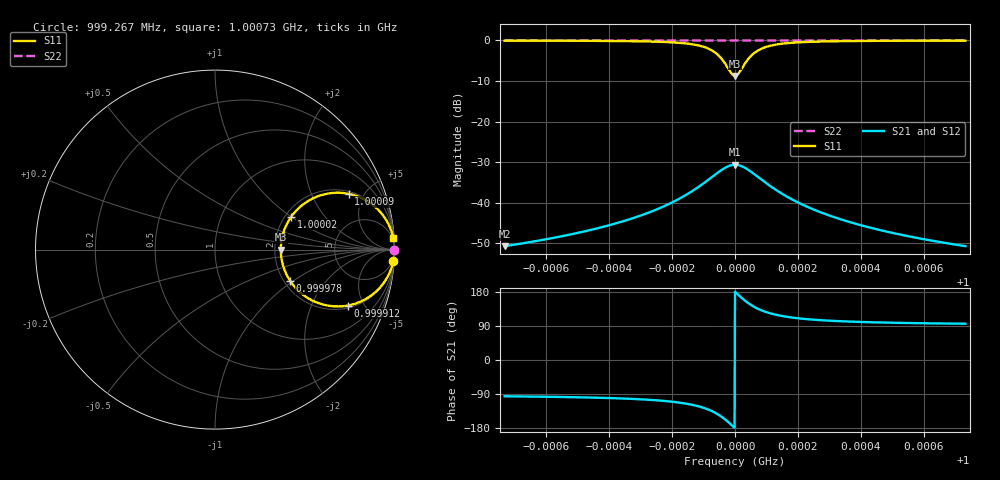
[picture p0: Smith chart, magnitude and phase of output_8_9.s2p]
! File generated for n1 = 8, n2 = 9
! b1 = 0.464159
! b2 = 0.001000
! Q0 = 10000.000000
! f0 = 1000000000.000000
! n = 1001
! rel_span = 10.000000
# Hz S RI R 50
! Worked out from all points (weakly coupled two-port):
!   1001 points, 999.267 MHz to 1.00073 GHz, reference 50 ohm
!   highest |S21| = -30.63 dB at 1 GHz (marker M1); lowest = -50.7 dB at 999.267 MHz (marker M2)
!   lowest |S11| = -8.7 dB at 1 GHz (marker M3), VSWR 2.16, Z = 108 + j0 ohm
!   |S11| at or under -10 dB: nowhere
!   |S22| runs from 0.0 to 0.0 dB; largest |S21 - S12| = 0
!   S11 on the Smith chart (normalised r, x): 999.267 MHz: 2, -32; 999.912 MHz: 2.16, -3.79; 999.978 MHz: 2.16, -0.95; 1.00002 GHz: 2.16, +1.01; 1.00009 GHz: 2.16, +3.85; 1.00073 GHz: 2, +32
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9.992674e8  0.9937 -0.0627  -0.000291 -0.00291  -0.000291 -0.00291  1 -0.000135
9.995121e8  0.986 -0.093  -0.000648 -0.00432  -0.000648 -0.00432  1 -0.0002
9.996469e8  0.9739 -0.126  -0.00121 -0.00585  -0.00121 -0.00585  0.9999 -0.000271
9.997568e8  0.9473 -0.175  -0.00245 -0.00812  -0.00245 -0.00812  0.9999 -0.000377
9.998506e8  0.8773 -0.2504  -0.0057 -0.0116  -0.0057 -0.0116  0.9997 -0.000539
9.998843e8  0.8188 -0.2863  -0.00841 -0.0133  -0.00841 -0.0133  0.9996 -0.000617
9.999121e8  0.7403 -0.3116  -0.0121 -0.0145  -0.0121 -0.0145  0.9994 -0.000671
9.999487e8  0.5748 -0.2977  -0.0197 -0.0138  -0.0197 -0.0138  0.9991 -0.000641
9.999634e8  0.4931 -0.2534  -0.0235 -0.0118  -0.0235 -0.0118  0.9989 -0.000546
9.99978e8  0.4187 -0.1744  -0.027 -0.00809  -0.027 -0.00809  0.9987 -0.000376
9.999912e8  0.3754 -0.075  -0.029 -0.00348  -0.029 -0.00348  0.9987 -0.000161
1e9  0.3664 0  -0.0294 0  -0.0294 0  0.9986 0
1.00001e9  0.3786 0.087  -0.0288 0.00404  -0.0288 0.00404  0.9987 0.000187
1.000023e9  0.4253 0.1839  -0.0267 0.00854  -0.0267 0.00854  0.9988 0.000396
1.000051e9  0.5748 0.2977  -0.0197 0.0138  -0.0197 0.0138  0.9991 0.000641
1.000089e9  0.7454 0.3106  -0.0118 0.0144  -0.0118 0.0144  0.9995 0.000669
1.000117e9  0.822 0.2848  -0.00826 0.0132  -0.00826 0.0132  0.9996 0.000614
1.000151e9  0.8792 0.2489  -0.00561 0.0116  -0.00561 0.0116  0.9997 0.000536
1.000245e9  0.9479 0.1741  -0.00242 0.00808  -0.00242 0.00808  0.9999 0.000375
1.000355e9  0.9741 0.1256  -0.0012 0.00583  -0.0012 0.00583  0.9999 0.000271
1.000489e9  0.9861 0.0928  -0.000645 0.00431  -0.000645 0.00431  1 0.0002
1.000733e9  0.9937 0.0628  -0.000291 0.00291  -0.000291 0.00291  1 0.000135
